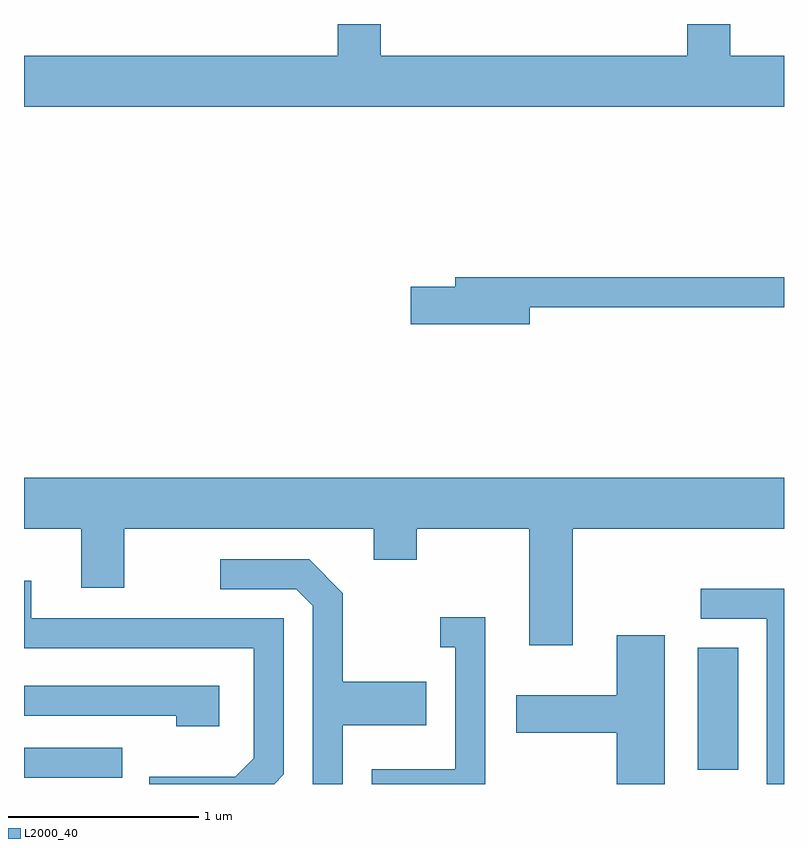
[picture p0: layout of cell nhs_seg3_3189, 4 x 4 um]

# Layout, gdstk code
import gdstk
lib = gdstk.Library(unit=1e-6, precision=1e-09)
def R(c, l, rs):  # rectangles x0, y0, x1, y1
    for r in rs: c.add(gdstk.rectangle(r[:2], r[2:], *l))
def P(c, l, *ps):  # polygons
    for p in ps: c.add(gdstk.Polygon(p, *l))
L2000_40 = (2000, 40)

nhs_seg3_3189 = lib.new_cell('nhs_seg3_3189')
R(nhs_seg3_3189, L2000_40, [(277.611,1237.926,278.128,1238.084), (281.156,1237.966,281.369,1238.609)])
P(nhs_seg3_3189, L2000_40, [(281.611,1241.724),(281.329,1241.724),(281.329,1241.892),(281.101,1241.892),(281.101,1241.724),(279.489,1241.724),(279.489,1241.892),(279.261,1241.892),(279.261,1241.724),(277.611,1241.724),(277.611,1241.456),(281.611,1241.456)],
  [(280.274,1240.401),(281.611,1240.401),(281.611,1240.559),(279.881,1240.559),(279.881,1240.509),(279.646,1240.509),(279.646,1240.311),(280.274,1240.311)],
  [(280.499,1239.236),(281.611,1239.236),(281.611,1239.504),(277.611,1239.504),(277.611,1239.236),(277.911,1239.236),(277.911,1238.926),(278.139,1238.926),(278.139,1239.236),(279.451,1239.236),(279.451,1239.071),(279.679,1239.071),(279.679,1239.236),(280.271,1239.236),(280.271,1238.621),(280.499,1238.621)],
  [(279.289,1238.201),(279.729,1238.201),(279.729,1238.429),(279.289,1238.429),(279.289,1238.897),(279.112,1239.074),(278.643,1239.074),(278.643,1238.916),(279.044,1238.916),(279.131,1238.829),(279.131,1237.892),(279.289,1237.892)],
  [(278.979,1237.944),(278.979,1238.764),(277.649,1238.764),(277.649,1238.963),(277.611,1238.963),(277.611,1238.606),(278.821,1238.606),(278.821,1238.027),(278.724,1237.929),(278.271,1237.929),(278.271,1237.892),(278.927,1237.892)],
  [(281.611,1238.919),(281.173,1238.919),(281.173,1238.761),(281.521,1238.761),(281.521,1237.892),(281.611,1237.892)],
  [(280.039,1238.769),(279.803,1238.769),(279.803,1238.611),(279.881,1238.611),(279.881,1237.969),(279.441,1237.969),(279.441,1237.892),(280.039,1237.892)],
  [(280.984,1238.674),(280.731,1238.674),(280.731,1238.359),(280.201,1238.359),(280.201,1238.161),(280.731,1238.161),(280.731,1237.892),(280.984,1237.892)],
  [(278.639,1238.409),(277.611,1238.409),(277.611,1238.251),(278.411,1238.251),(278.411,1238.196),(278.639,1238.196)])

lib.write_gds('nhs_seg3_3189.gds')
